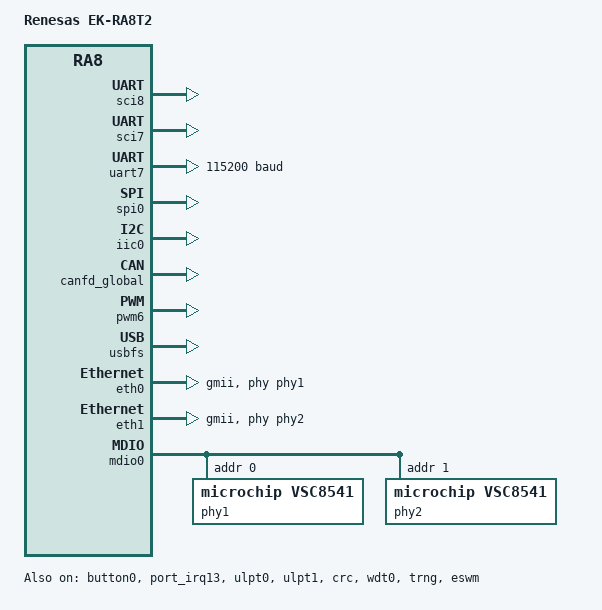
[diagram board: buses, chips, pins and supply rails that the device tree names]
/*
 * Copyright (c) 2026 Renesas Electronics Corporation
 * SPDX-License-Identifier: Apache-2.0
 */

/dts-v1/;

#include <renesas/ra/ra8/r7ka8t2lflcac_cm85.dtsi>
#include "ek_ra8t2.dtsi"

/ {
	model = "Renesas EK-RA8T2";
	compatible = "renesas,ra8t2", "renesas,ra8";

	chosen {
		zephyr,sram = &sram0;
		zephyr,flash = &code_mram_cm85;
		zephyr,flash-controller = &mram_ctrl;
		zephyr,code-partition = &slot0_partition;
		zephyr,console = &uart8;
		zephyr,shell-uart = &uart8;
		zephyr,canbus = &canfd1;
		zephyr,crc = &crc;
		zephyr,entropy = &trng;
	};

	aliases {
		led0 = &led1;
		sw0 = &button0;
	};
};

&button0 {
	status = "okay";
};

&sci8 {
	interrupts = <0 1>, <1 1>, <2 1>, <3 1>;
	interrupt-names = "rxi", "txi", "tei", "eri";
	status = "okay";

	uart8: uart {
		current-speed = <115200>;
		status = "okay";
	};
};

&sci7 {
	interrupts = <4 1>, <5 1>, <6 1>, <7 1>;
	interrupt-names = "rxi", "txi", "tei", "eri";
	status = "okay";
};

&uart7 {
	current-speed = <115200>;
	status = "okay";
};

&spi0 {
	interrupts = <8 1>, <9 1>, <10 1>, <11 1>;
	interrupt-names = "rxi", "txi", "tei", "eri";
	status = "okay";
};

&iic0 {
	interrupts = <12 1>, <13 1>, <14 1>, <15 1>;
	interrupt-names = "rxi", "txi", "tei", "eri";
	status = "okay";
};

&canfd_global {
	interrupts = <16 1>, <17 1>;
	interrupt-names = "rxf", "glerr";
	status = "okay";

	canfd1 {
		interrupts = <18 1>, <19 1>, <20 11>;
		interrupt-names = "err", "tx", "rx";
		status = "okay";
	};
};

&port_irq13 {
	interrupts = <21 1>;
	status = "okay";
};

&pwm6 {
	interrupts = <22 1>, <23 1>;
	interrupt-names = "gtioca", "overflow";
	status = "okay";
};

&ulpt0 {
	interrupts = <24 1>;
	interrupt-names = "ulpti";
	status = "okay";

	timer {
		status = "okay";
	};
};

&ulpt1 {
	status = "okay";

	timer {
		status = "okay";
	};
};

&crc {
	status = "okay";
};

&wdt0 {
	status = "okay";
};

&trng {
	status = "okay";
};

&usbfs {
	interrupts = <25 12>, <26 12>;
	interrupt-names = "usbfs-i", "usbfs-r";
	status = "okay";

	zephyr_udc0: udc {
		status = "okay";
	};
};

&code_mram_cm85 {
	partitions {
		compatible = "fixed-partitions";
		#address-cells = <1>;
		#size-cells = <1>;

		boot_partition: partition@0 {
			label = "mcuboot";
			reg = <0x0 DT_SIZE_K(64)>;
		};

		slot0_partition: partition@10000 {
			label = "image-0";
			reg = <0x10000 DT_SIZE_K(344)>;
		};

		slot1_partition: partition@66000 {
			label = "image-1";
			reg = <0x66000 DT_SIZE_K(344)>;
		};

		storage_partition: partition@bc000 {
			label = "storage";
			reg = <0xbc000 DT_SIZE_K(16)>;
		};
	};
};

&eswm {
	status = "okay";
	interrupts = <27 1>;
	interrupt-names = "gwdi";
	pinctrl-0 = <&ethphyclk_default>;
	pinctrl-names = "default";
};

&eth0 {
	phy-connection-type = "gmii";
	local-mac-address = [74 90 50 01 02 05];
	phy-clock-type = "internal";
	phy-handle = <&phy1>;
	pinctrl-0 = <&eth0_default>;
	pinctrl-names = "default";
	status = "okay";
};

&eth1 {
	phy-connection-type = "gmii";
	local-mac-address = [74 90 50 01 02 06];
	phy-clock-type = "internal";
	phy-handle = <&phy2>;
	pinctrl-0 = <&eth1_default>;
	pinctrl-names = "default";
	status = "okay";
};

&mdio0 {
	pinctrl-0 = <&mdio0_default>;
	pinctrl-names = "default";
	mdio-hold-time-ns = <7>;
	mdio-capture-time-ns = <0>;
	status = "okay";

	phy1: phy@0 {
		compatible = "microchip,vsc8541";
		reg = <0>;
		microchip,interface-type = "gmii";
		/* Board limitations are currently being analyzed.
		 * Will be improved in the future
		 */
		default-speeds = "100BASE Full-Duplex";
		status = "okay";
	};

	phy2: phy@1 {
		compatible = "microchip,vsc8541";
		reg = <1>;
		microchip,interface-type = "gmii";
		status = "okay";
	};
};
